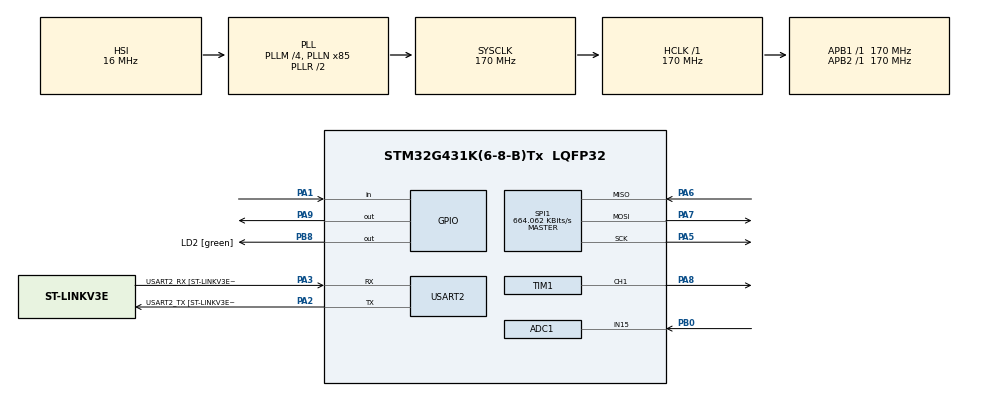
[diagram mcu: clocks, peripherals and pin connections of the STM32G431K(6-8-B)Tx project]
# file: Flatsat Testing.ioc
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ADC1.Channel-0\#ChannelRegularConversion=ADC_CHANNEL_15
ADC1.NbrOfConversionFlag=1
ADC1.OffsetNumber-0\#ChannelRegularConversion=ADC_OFFSET_NONE
ADC1.Rank-0\#ChannelRegularConversion=1
ADC1.SamplingTime-0\#ChannelRegularConversion=ADC_SAMPLETIME_2CYCLES_5
ADC1.master=1
Mcu.Family=STM32G4
Mcu.Name=STM32G431K(6-8-B)Tx
Mcu.Package=LQFP32
NVIC.PriorityGroup=NVIC_PRIORITYGROUP_4
PA1.Signal=GPIO_Input
PA13.GPIO_Label=T_SWDIO
PA13.Mode=Serial_Wire
PA13.Signal=SYS_JTMS-SWDIO
PA14.GPIO_Label=T_SWCLK
PA14.Mode=Serial_Wire
PA14.Signal=SYS_JTCK-SWCLK
PA2.GPIO_Label=USART2_TX [ST-LINKV3E_VCP_RX]
PA2.Mode=Asynchronous
PA2.Signal=USART2_TX
PA3.GPIO_Label=USART2_RX [ST-LINKV3E_VCP_TX]
PA3.Mode=Asynchronous
PA3.Signal=USART2_RX
PA5.Mode=Full_Duplex_Master
PA5.Signal=SPI1_SCK
PA6.Mode=Full_Duplex_Master
PA6.Signal=SPI1_MISO
PA7.Mode=Full_Duplex_Master
PA7.Signal=SPI1_MOSI
PA8.Signal=S_TIM1_CH1
PA9.Signal=GPIO_Output
PB0.Mode=IN15-Single-Ended
PB0.Signal=ADC1_IN15
PB3.GPIO_Label=T_SWO
PB3.Signal=SYS_JTDO-SWO
PB8-BOOT0.GPIO_Label=LD2 [green]
PB8-BOOT0.Signal=GPIO_Output
ProjectManager.HeapSize=0x200
ProjectManager.StackSize=0x400
ProjectManager.TargetToolchain=STM32CubeIDE
RCC.ADC12Freq_Value=170000000
RCC.AHBFreq_Value=170000000
RCC.APB1Freq_Value=170000000
RCC.APB1TimFreq_Value=170000000
RCC.APB2Freq_Value=170000000
RCC.APB2TimFreq_Value=170000000
RCC.CortexFreq_Value=170000000
RCC.EXTERNAL_CLOCK_VALUE=12288000
RCC.HCLKFreq_Value=170000000
RCC.HSE_VALUE=8000000
RCC.HSI48_VALUE=48000000
RCC.HSI_VALUE=16000000
RCC.LSE_VALUE=32768
RCC.PLLM=RCC_PLLM_DIV4
RCC.PLLN=85
RCC.SYSCLKFreq_VALUE=170000000
RCC.SYSCLKSource=RCC_SYSCLKSOURCE_PLLCLK
RCC.USBFreq_Value=170000000
RCC.VCOOutputFreq_Value=340000000
SH.S_TIM1_CH1.0=TIM1_CH1,PWM Generation1 CH1
SPI1.BaudRatePrescaler=SPI_BAUDRATEPRESCALER_256
SPI1.CalculateBaudRate=664.062 KBits/s
SPI1.DataSize=SPI_DATASIZE_8BIT
SPI1.Direction=SPI_DIRECTION_2LINES
SPI1.Mode=SPI_MODE_MASTER
SPI1.VirtualType=VM_MASTER
TIM1.Channel-PWM\ Generation1\ CH1=TIM_CHANNEL_1
TIM1.PeriodNoDither=1000
USART2.VirtualMode-Asynchronous=VM_ASYNC
USART2.WordLength=WORDLENGTH_8B
VP_TIM1_VS_ClockSourceINT.Mode=Internal
board=NUCLEO-G431KB

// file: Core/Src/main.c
/* USER CODE BEGIN Header */
/**
  ******************************************************************************
  * @file           : main.c
  * @brief          : Main program body
  ******************************************************************************
  * @attention
  *
  * Copyright (c) 2023 STMicroelectronics.
  * All rights reserved.
  *
  * This software is licensed under terms that can be found in the LICENSE file
  * in the root directory of this software component.
  * If no LICENSE file comes with this software, it is provided AS-IS.
  *
  ******************************************************************************
  */
/* USER CODE END Header */
#include "main.h"

/* USER CODE BEGIN Includes */
#include <string.h>
#include <stdio.h>
#include <math.h>
#include <stdlib.h>
/* USER CODE END Includes */

/* USER CODE BEGIN PD */

#define IIS2_ADDR 0x1E
#define OUTX_L 0x68
#define OUTY_L 0x6A
#define OUTZ_L 0x6C
#define CFG_REG_A 0x60
#define CFG_REG_B 0x61
#define CFG_REG_C 0x62
/* USER CODE END PD */

ADC_HandleTypeDef hadc1;

SPI_HandleTypeDef hspi1;

TIM_HandleTypeDef htim1;

UART_HandleTypeDef huart2;

void SystemClock_Config(void);
static void MX_GPIO_Init(void);
static void MX_USART2_UART_Init(void);
static void MX_ADC1_Init(void);
static void MX_SPI1_Init(void);
static void MX_TIM1_Init(void);
/* USER CODE BEGIN PFP */
void UART_PRINT_VAL(double value);
void UART_PRINT_TEXT(uint8_t* MSG);
void IIS2_INIT(void);
int IIS2_GET_DATA(uint8_t addr, uint16_t dataSize);
/* USER CODE END PFP */

int main(void)
{

  /* MCU Configuration--------------------------------------------------------*/

  /* Reset of all peripherals, Initializes the Flash interface and the Systick. */
  HAL_Init();

  /* Configure the system clock */
  SystemClock_Config();

  /* Initialize all configured peripherals */
  MX_GPIO_Init();
  MX_USART2_UART_Init();
  MX_ADC1_Init();
  MX_SPI1_Init();
  MX_TIM1_Init();
  /* USER CODE BEGIN 2 */
  uint32_t adc2_val;
  double adc2_value;
  int pwm_val = 500;
  uint32_t adc1_val;
  double adc1_value;
  uint32_t nFault;

  uint16_t xData = 0;
  uint16_t yData = 0;
  uint16_t zData = 0;
  double xDataRef = 0;
  double yDataRef = 0;
  double zDataRef = 0;

  HAL_TIM_PWM_Start(&htim1, TIM_CHANNEL_1);
  TIM1->CCR1 = 500;

  IIS2_INIT();

  int counter = 0;
  /* USER CODE END 2 */

  /* Infinite loop */
  /* USER CODE BEGIN WHILE */

  while (1)
  {
	  HAL_GPIO_WritePin(GPIOA, GPIO_PIN_9, GPIO_PIN_SET);
	  for(int a=0;a<100;a++){
		  __HAL_TIM_SET_COMPARE(&htim1, TIM_CHANNEL_1, ((double)a * 10));
		  yDataRef = 0;
		  counter = 0;
		  while(counter < 25){
			  if(HAL_GPIO_ReadPin(GPIOA, GPIO_PIN_1)){
				  yData = IIS2_GET_DATA(OUTY_L, 1);
				  yDataRef += yData*.15;
				  counter++;
			  }
		  }
		  yDataRef /= 25.0;
		  UART_PRINT_VAL((double) a);
		  UART_PRINT_TEXT(" ");
		  UART_PRINT_VAL(yDataRef);
		  UART_PRINT_TEXT("\n");
	  }
	  for(int a=100;a>0;a--){
		  __HAL_TIM_SET_COMPARE(&htim1, TIM_CHANNEL_1, ((double)a * 10));
		  yDataRef = 0;
		  counter = 0;
		  while(counter < 25){
			  if(HAL_GPIO_ReadPin(GPIOA, GPIO_PIN_1)){
				  yData = IIS2_GET_DATA(OUTY_L, 1);
				  yDataRef += yData*.15;
				  counter++;
			  }
		  }
		  yDataRef /= 25.0;
		  UART_PRINT_VAL((double) a);
		  UART_PRINT_TEXT(" ");
		  UART_PRINT_VAL(yDataRef);
		  UART_PRINT_TEXT("\n");
	  }
	  UART_PRINT_TEXT("\n\n\n\n\n");

	  /*
	  HAL_ADC_Start(&hadc2);
	  HAL_ADC_Start(&hadc1);
	  adc2_val = HAL_ADC_GetValue(&hadc2);
	  adc1_val = HAL_ADC_GetValue(&hadc1);
	  adc2_value = adc2_val;
	  adc1_value = adc1_val;

	  if(adc2_value < 2048){ // direction 0
	  	HAL_GPIO_WritePin(GPIOA, GPIO_PIN_9, GPIO_PIN_SET);
	  	pwm_val = 1000.0 * ((2048.0 - adc2_value) / 2048.0);
	  	__HAL_TIM_SET_COMPARE(&htim1, TIM_CHANNEL_1, pwm_val);
	  }
	  else{ // direction 1
		HAL_GPIO_WritePin(GPIOA, GPIO_PIN_9, GPIO_PIN_RESET);
	  	pwm_val = 1000.0 * ((adc2_value - 2048.0) / 2048.0);
	  	__HAL_TIM_SET_COMPARE(&htim1, TIM_CHANNEL_1, pwm_val);
	  }
		*/

    /* USER CODE END WHILE */

  }
}

void SystemClock_Config(void)
{
  RCC_OscInitTypeDef RCC_OscInitStruct = {0};
  RCC_ClkInitTypeDef RCC_ClkInitStruct = {0};

  /** Configure the main internal regulator output voltage
  */
  HAL_PWREx_ControlVoltageScaling(PWR_REGULATOR_VOLTAGE_SCALE1_BOOST);

  /** Initializes the RCC Oscillators according to the specified parameters
  * in the RCC_OscInitTypeDef structure.
  */
  RCC_OscInitStruct.OscillatorType = RCC_OSCILLATORTYPE_HSI;
  RCC_OscInitStruct.HSIState = RCC_HSI_ON;
  RCC_OscInitStruct.HSICalibrationValue = RCC_HSICALIBRATION_DEFAULT;
  RCC_OscInitStruct.PLL.PLLState = RCC_PLL_ON;
  RCC_OscInitStruct.PLL.PLLSource = RCC_PLLSOURCE_HSI;
  RCC_OscInitStruct.PLL.PLLM = RCC_PLLM_DIV4;
  RCC_OscInitStruct.PLL.PLLN = 85;
  RCC_OscInitStruct.PLL.PLLP = RCC_PLLP_DIV2;
  RCC_OscInitStruct.PLL.PLLQ = RCC_PLLQ_DIV2;
  RCC_OscInitStruct.PLL.PLLR = RCC_PLLR_DIV2;
  if (HAL_RCC_OscConfig(&RCC_OscInitStruct) != HAL_OK)
  {
    Error_Handler();
  }

  /** Initializes the CPU, AHB and APB buses clocks
  */
  RCC_ClkInitStruct.ClockType = RCC_CLOCKTYPE_HCLK|RCC_CLOCKTYPE_SYSCLK
                              |RCC_CLOCKTYPE_PCLK1|RCC_CLOCKTYPE_PCLK2;
  RCC_ClkInitStruct.SYSCLKSource = RCC_SYSCLKSOURCE_PLLCLK;
  RCC_ClkInitStruct.AHBCLKDivider = RCC_SYSCLK_DIV1;
  RCC_ClkInitStruct.APB1CLKDivider = RCC_HCLK_DIV1;
  RCC_ClkInitStruct.APB2CLKDivider = RCC_HCLK_DIV1;

  if (HAL_RCC_ClockConfig(&RCC_ClkInitStruct, FLASH_LATENCY_4) != HAL_OK)
  {
    Error_Handler();
  }
}

static void MX_ADC1_Init(void)
{

  ADC_MultiModeTypeDef multimode = {0};
  ADC_ChannelConfTypeDef sConfig = {0};

  /** Common config
  */
  hadc1.Instance = ADC1;
  hadc1.Init.ClockPrescaler = ADC_CLOCK_SYNC_PCLK_DIV4;
  hadc1.Init.Resolution = ADC_RESOLUTION_12B;
  hadc1.Init.DataAlign = ADC_DATAALIGN_RIGHT;
  hadc1.Init.GainCompensation = 0;
  hadc1.Init.ScanConvMode = ADC_SCAN_DISABLE;
  hadc1.Init.EOCSelection = ADC_EOC_SINGLE_CONV;
  hadc1.Init.LowPowerAutoWait = DISABLE;
  hadc1.Init.ContinuousConvMode = DISABLE;
  hadc1.Init.NbrOfConversion = 1;
  hadc1.Init.DiscontinuousConvMode = DISABLE;
  hadc1.Init.ExternalTrigConv = ADC_SOFTWARE_START;
  hadc1.Init.ExternalTrigConvEdge = ADC_EXTERNALTRIGCONVEDGE_NONE;
  hadc1.Init.DMAContinuousRequests = DISABLE;
  hadc1.Init.Overrun = ADC_OVR_DATA_PRESERVED;
  hadc1.Init.OversamplingMode = DISABLE;
  if (HAL_ADC_Init(&hadc1) != HAL_OK)
  {
    Error_Handler();
  }

  /** Configure the ADC multi-mode
  */
  multimode.Mode = ADC_MODE_INDEPENDENT;
  if (HAL_ADCEx_MultiModeConfigChannel(&hadc1, &multimode) != HAL_OK)
  {
    Error_Handler();
  }

  /** Configure Regular Channel
  */
  sConfig.Channel = ADC_CHANNEL_15;
  sConfig.Rank = ADC_REGULAR_RANK_1;
  sConfig.SamplingTime = ADC_SAMPLETIME_2CYCLES_5;
  sConfig.SingleDiff = ADC_SINGLE_ENDED;
  sConfig.OffsetNumber = ADC_OFFSET_NONE;
  sConfig.Offset = 0;
  if (HAL_ADC_ConfigChannel(&hadc1, &sConfig) != HAL_OK)
  {
    Error_Handler();
  }

}

static void MX_SPI1_Init(void)
{

  /* SPI1 parameter configuration*/
  hspi1.Instance = SPI1;
  hspi1.Init.Mode = SPI_MODE_MASTER;
  hspi1.Init.Direction = SPI_DIRECTION_2LINES;
  hspi1.Init.DataSize = SPI_DATASIZE_8BIT;
  hspi1.Init.CLKPolarity = SPI_POLARITY_LOW;
  hspi1.Init.CLKPhase = SPI_PHASE_1EDGE;
  hspi1.Init.NSS = SPI_NSS_SOFT;
  hspi1.Init.BaudRatePrescaler = SPI_BAUDRATEPRESCALER_256;
  hspi1.Init.FirstBit = SPI_FIRSTBIT_MSB;
  hspi1.Init.TIMode = SPI_TIMODE_DISABLE;
  hspi1.Init.CRCCalculation = SPI_CRCCALCULATION_DISABLE;
  hspi1.Init.CRCPolynomial = 7;
  hspi1.Init.CRCLength = SPI_CRC_LENGTH_DATASIZE;
  hspi1.Init.NSSPMode = SPI_NSS_PULSE_ENABLE;
  if (HAL_SPI_Init(&hspi1) != HAL_OK)
  {
    Error_Handler();
  }

}

static void MX_TIM1_Init(void)
{

  TIM_ClockConfigTypeDef sClockSourceConfig = {0};
  TIM_MasterConfigTypeDef sMasterConfig = {0};
  TIM_OC_InitTypeDef sConfigOC = {0};
  TIM_BreakDeadTimeConfigTypeDef sBreakDeadTimeConfig = {0};

  htim1.Instance = TIM1;
  htim1.Init.Prescaler = 0;
  htim1.Init.CounterMode = TIM_COUNTERMODE_UP;
  htim1.Init.Period = 1000;
  htim1.Init.ClockDivision = TIM_CLOCKDIVISION_DIV1;
  htim1.Init.RepetitionCounter = 0;
  htim1.Init.AutoReloadPreload = TIM_AUTORELOAD_PRELOAD_DISABLE;
  if (HAL_TIM_Base_Init(&htim1) != HAL_OK)
  {
    Error_Handler();
  }
  sClockSourceConfig.ClockSource = TIM_CLOCKSOURCE_INTERNAL;
  if (HAL_TIM_ConfigClockSource(&htim1, &sClockSourceConfig) != HAL_OK)
  {
    Error_Handler();
  }
  if (HAL_TIM_PWM_Init(&htim1) != HAL_OK)
  {
    Error_Handler();
  }
  sMasterConfig.MasterOutputTrigger = TIM_TRGO_RESET;
  sMasterConfig.MasterOutputTrigger2 = TIM_TRGO2_RESET;
  sMasterConfig.MasterSlaveMode = TIM_MASTERSLAVEMODE_DISABLE;
  if (HAL_TIMEx_MasterConfigSynchronization(&htim1, &sMasterConfig) != HAL_OK)
  {
    Error_Handler();
  }
  sConfigOC.OCMode = TIM_OCMODE_PWM1;
  sConfigOC.Pulse = 0;
  sConfigOC.OCPolarity = TIM_OCPOLARITY_HIGH;
  sConfigOC.OCNPolarity = TIM_OCNPOLARITY_HIGH;
  sConfigOC.OCFastMode = TIM_OCFAST_DISABLE;
  sConfigOC.OCIdleState = TIM_OCIDLESTATE_RESET;
  sConfigOC.OCNIdleState = TIM_OCNIDLESTATE_RESET;
  if (HAL_TIM_PWM_ConfigChannel(&htim1, &sConfigOC, TIM_CHANNEL_1) != HAL_OK)
  {
    Error_Handler();
  }
  sBreakDeadTimeConfig.OffStateRunMode = TIM_OSSR_DISABLE;
  sBreakDeadTimeConfig.OffStateIDLEMode = TIM_OSSI_DISABLE;
  sBreakDeadTimeConfig.LockLevel = TIM_LOCKLEVEL_OFF;
  sBreakDeadTimeConfig.DeadTime = 0;
  sBreakDeadTimeConfig.BreakState = TIM_BREAK_DISABLE;
  sBreakDeadTimeConfig.BreakPolarity = TIM_BREAKPOLARITY_HIGH;
  sBreakDeadTimeConfig.BreakFilter = 0;
  sBreakDeadTimeConfig.BreakAFMode = TIM_BREAK_AFMODE_INPUT;
  sBreakDeadTimeConfig.Break2State = TIM_BREAK2_DISABLE;
  sBreakDeadTimeConfig.Break2Polarity = TIM_BREAK2POLARITY_HIGH;
  sBreakDeadTimeConfig.Break2Filter = 0;
  sBreakDeadTimeConfig.Break2AFMode = TIM_BREAK_AFMODE_INPUT;
  sBreakDeadTimeConfig.AutomaticOutput = TIM_AUTOMATICOUTPUT_DISABLE;
  if (HAL_TIMEx_ConfigBreakDeadTime(&htim1, &sBreakDeadTimeConfig) != HAL_OK)
  {
    Error_Handler();
  }
  HAL_TIM_MspPostInit(&htim1);

}

static void MX_USART2_UART_Init(void)
{

  huart2.Instance = USART2;
  huart2.Init.BaudRate = 115200;
  huart2.Init.WordLength = UART_WORDLENGTH_8B;
  huart2.Init.StopBits = UART_STOPBITS_1;
  huart2.Init.Parity = UART_PARITY_NONE;
  huart2.Init.Mode = UART_MODE_TX_RX;
  huart2.Init.HwFlowCtl = UART_HWCONTROL_NONE;
  huart2.Init.OverSampling = UART_OVERSAMPLING_16;
  huart2.Init.OneBitSampling = UART_ONE_BIT_SAMPLE_DISABLE;
  huart2.Init.ClockPrescaler = UART_PRESCALER_DIV1;
  huart2.AdvancedInit.AdvFeatureInit = UART_ADVFEATURE_NO_INIT;
  if (HAL_UART_Init(&huart2) != HAL_OK)
  {
    Error_Handler();
  }
  if (HAL_UARTEx_SetTxFifoThreshold(&huart2, UART_TXFIFO_THRESHOLD_1_8) != HAL_OK)
  {
    Error_Handler();
  }
  if (HAL_UARTEx_SetRxFifoThreshold(&huart2, UART_RXFIFO_THRESHOLD_1_8) != HAL_OK)
  {
    Error_Handler();
  }
  if (HAL_UARTEx_DisableFifoMode(&huart2) != HAL_OK)
  {
    Error_Handler();
  }

}

static void MX_GPIO_Init(void)
{
  GPIO_InitTypeDef GPIO_InitStruct = {0};

  /* GPIO Ports Clock Enable */
  __HAL_RCC_GPIOA_CLK_ENABLE();
  __HAL_RCC_GPIOB_CLK_ENABLE();

  /*Configure GPIO pin Output Level */
  HAL_GPIO_WritePin(GPIOA, GPIO_PIN_9, GPIO_PIN_RESET);

  /*Configure GPIO pin Output Level */
  HAL_GPIO_WritePin(LD2_GPIO_Port, LD2_Pin, GPIO_PIN_RESET);

  /*Configure GPIO pin : PA1 */
  GPIO_InitStruct.Pin = GPIO_PIN_1;
  GPIO_InitStruct.Mode = GPIO_MODE_INPUT;
  GPIO_InitStruct.Pull = GPIO_NOPULL;
  HAL_GPIO_Init(GPIOA, &GPIO_InitStruct);

  /*Configure GPIO pin : PA9 */
  GPIO_InitStruct.Pin = GPIO_PIN_9;
  GPIO_InitStruct.Mode = GPIO_MODE_OUTPUT_PP;
  GPIO_InitStruct.Pull = GPIO_NOPULL;
  GPIO_InitStruct.Speed = GPIO_SPEED_FREQ_LOW;
  HAL_GPIO_Init(GPIOA, &GPIO_InitStruct);

  /*Configure GPIO pin : LD2_Pin */
  GPIO_InitStruct.Pin = LD2_Pin;
  GPIO_InitStruct.Mode = GPIO_MODE_OUTPUT_PP;
  GPIO_InitStruct.Pull = GPIO_NOPULL;
  GPIO_InitStruct.Speed = GPIO_SPEED_FREQ_LOW;
  HAL_GPIO_Init(LD2_GPIO_Port, &GPIO_InitStruct);

}

/* USER CODE BEGIN 4 */
void UART_PRINT_VAL(double value){
    char total[50];
    char temp[10];
    if(value < 0){
       UART_PRINT_TEXT("-");
    }
    sprintf(total, "%i", abs((int)value));
    strcat(total, ".");
    double currentVal = (value - (int) value);
    for(int a=0;a<6;a++){
        currentVal *= 10;
        sprintf(temp, "%i", abs((int)currentVal));
        strcat(total, temp);
        currentVal -= (int)currentVal;
    }
    HAL_UART_Transmit(&huart2, total, strlen(total), 100);
}
void UART_PRINT_TEXT(uint8_t* MSG){
	HAL_UART_Transmit(&huart2, MSG, strlen(MSG), 100);
}

void IIS2_INIT(void){
	//uint8_t data[3] = {0x8C, 0x01, 0x01}; // OPERATION MODE, TEM COMP 100Hz CONTINUOUS MODE, ENABLE LPF, DATA READY INT
	uint8_t data1[2] = {CFG_REG_A, 0x8c};
	uint8_t data2[2] = {CFG_REG_B, 0x01};
	uint8_t data3[2] = {CFG_REG_C, 0x21};
	HAL_GPIO_WritePin(GPIOA, GPIO_PIN_6, GPIO_PIN_RESET);
	HAL_SPI_Transmit(&hspi1, data1, 2, 100); // TEMP COMP, 100Hz, CONTINUOUS MODE
	HAL_SPI_Transmit(&hspi1, data2, 2, 100); // ENABLE LPF
	HAL_SPI_Transmit(&hspi1, data3, 2, 100); // DATA READY INT, DISABLE I2C
	HAL_GPIO_WritePin(GPIOA, GPIO_PIN_6, GPIO_PIN_SET);
}
int IIS2_GET_DATA(uint8_t addr, uint16_t dataSize){
	int val = 0;
	uint16_t value = 0;
	uint8_t sendData[1] = {0x80 | addr};
	uint8_t receiveData[2];
	HAL_GPIO_WritePin(GPIOA, GPIO_PIN_6, GPIO_PIN_RESET);
	HAL_SPI_Transmit(&hspi1, sendData, 1, 100);
	HAL_SPI_Receive(&hspi1, receiveData, 2, 100);
	HAL_GPIO_WritePin(GPIOA, GPIO_PIN_6, GPIO_PIN_SET);
	value = (receiveData[1] << 8 | receiveData[0]);
	if(value > 0x7fff){
		val = ~value;
		val = -value;
	}
	else{
		val = value;
	}
	return val;
}

/*
void IIS2_INIT(void){
	uint8_t data[3] = {0x8C, 0x01, 0x01}; // OPERATION MODE, TEM COMP 100Hz CONTINUOUS MODE, ENABLE LPF, DATA READY INT
	HAL_I2C_Mem_Write(&hi2c1, IIS2_ADDR, CFG_REG_A, 1, data[0], 1, 100); // TEMP COMP, 100Hz, CONTINUOUS MODE
	HAL_I2C_Mem_Write(&hi2c1, IIS2_ADDR, CFG_REG_B, 1, data[1], 1, 100); // ENABLE LPF
	HAL_I2C_Mem_Write(&hi2c1, IIS2_ADDR, CFG_REG_C, 1, data[2], 1, 100); // DATA READY INT

}
uint16_t IIS2_GET_DATA(uint8_t addr, uint16_t dataSize){
	uint16_t val = 0;
	uint16_t value = 0;
	uint8_t receiveData[dataSize];
	HAL_I2C_Mem_Read(&hi2c1, IIS2_ADDR, addr, 1, receiveData, dataSize, 100);
	value = (receiveData[1] << 8 | receiveData[0]);
	if(value > 0x7fff){
		val = ~value;
	}
	else{
		val = value;
	}
	return val;
}
*/

/* USER CODE END 4 */

void Error_Handler(void)
{
  __disable_irq();
  while (1)
  {
  }
}
